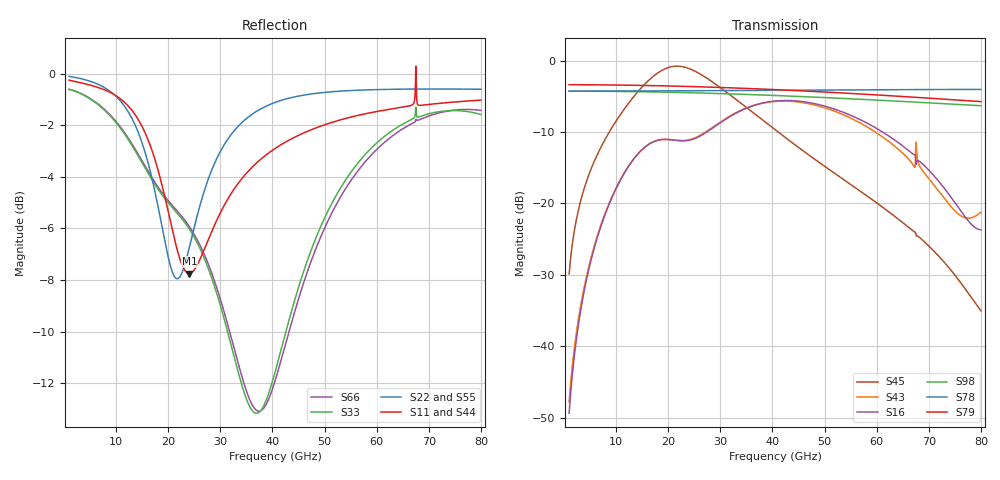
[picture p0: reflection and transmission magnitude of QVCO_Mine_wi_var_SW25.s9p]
! Touchstone Ver. 1.0
! Number of ports is 9
# Hz	S	RI	R	50.000000
! SCATTERING PARAMETERS  :
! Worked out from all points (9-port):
!   1001 points, 1 GHz to 80 GHz, reference 50 ohm
!   strongest paths, dB at 1 GHz, 20.75 GHz, 40.5 GHz, 60.25 GHz, 80 GHz:
!     S79: -3.4, -3.6, -4.1, -4.8, -5.8
!     S78: -4.3, -4.2, -4.2, -4.1, -4.0
!     S98: -4.3, -4.4, -4.9, -5.5, -6.3
!     S16: -49.4, -11.1, -5.7, -9.6, -23.7
!     S43: -47.8, -11.1, -5.7, -10.3, -21.2
!     S45: -29.9, -0.9, -9.7, -20.1, -35.0
!   lowest |S11| = -7.7 dB at 24.07 GHz (marker M1), VSWR 2.39, Z = 43.4 + j41.3 ohm
!   |S11| at or under -10 dB: nowhere
